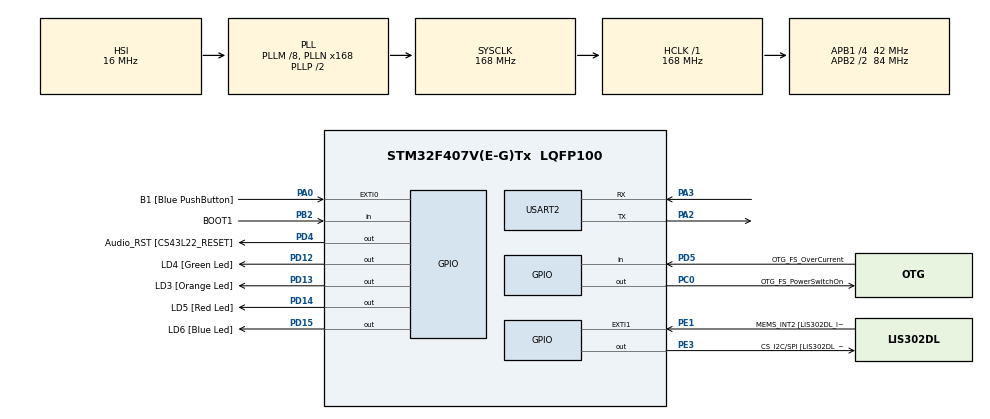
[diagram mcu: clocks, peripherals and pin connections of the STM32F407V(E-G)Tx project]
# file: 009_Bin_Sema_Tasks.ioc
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Mcu.Family=STM32F4
Mcu.Name=STM32F407V(E-G)Tx
Mcu.Package=LQFP100
NVIC.PriorityGroup=NVIC_PRIORITYGROUP_4
NVIC.TIM6_DAC_IRQn=true\:15\:0\:false\:false\:true\:false\:true\:true
NVIC.TimeBase=TIM6_DAC_IRQn
NVIC.TimeBaseIP=TIM6
NVIC.USART2_IRQn=true\:6\:0\:true\:false\:true\:true\:true\:true
PA0-WKUP.GPIO_Label=B1 [Blue PushButton]
PA0-WKUP.Signal=GPXTI0
PA10.GPIO_Label=OTG_FS_ID
PA10.GPIO_Mode=GPIO_MODE_AF_PP
PA10.GPIO_PuPd=GPIO_NOPULL
PA10.GPIO_Speed=GPIO_SPEED_FREQ_LOW
PA10.Signal=USB_OTG_FS_ID
PA11.GPIO_Label=OTG_FS_DM
PA11.GPIO_Mode=GPIO_MODE_AF_PP
PA11.GPIO_PuPd=GPIO_NOPULL
PA11.GPIO_Speed=GPIO_SPEED_FREQ_LOW
PA11.Signal=USB_OTG_FS_DM
PA12.GPIO_Label=OTG_FS_DP
PA12.GPIO_Mode=GPIO_MODE_AF_PP
PA12.GPIO_PuPd=GPIO_NOPULL
PA12.GPIO_Speed=GPIO_SPEED_FREQ_LOW
PA12.Signal=USB_OTG_FS_DP
PA13.GPIO_Label=SWDIO
PA13.Signal=SYS_JTMS-SWDIO
PA14.GPIO_Label=SWCLK
PA14.Signal=SYS_JTCK-SWCLK
PA2.Mode=Asynchronous
PA2.Signal=USART2_TX
PA3.Mode=Asynchronous
PA3.Signal=USART2_RX
PA4.GPIO_Label=I2S3_WS [CS43L22_LRCK]
PA4.GPIO_Mode=GPIO_MODE_AF_PP
PA4.GPIO_PuPd=GPIO_NOPULL
PA4.GPIO_Speed=GPIO_SPEED_FREQ_LOW
PA4.Signal=I2S3_WS
PA5.GPIO_Label=SPI1_SCK [LIS302DL_SCL/SPC]
PA5.GPIO_Mode=GPIO_MODE_AF_PP
PA5.GPIO_PuPd=GPIO_NOPULL
PA5.GPIO_Speed=GPIO_SPEED_FREQ_LOW
PA5.Signal=SPI1_SCK
PA6.GPIO_Label=SPI1_MISO [LIS302DL_SDO]
PA6.GPIO_Mode=GPIO_MODE_AF_PP
PA6.GPIO_PuPd=GPIO_NOPULL
PA6.GPIO_Speed=GPIO_SPEED_FREQ_LOW
PA6.Signal=SPI1_MISO
PA7.GPIO_Label=SPI1_MOSI [LIS302DL_SDA/SDI/SDO]
PA7.GPIO_Mode=GPIO_MODE_AF_PP
PA7.GPIO_PuPd=GPIO_NOPULL
PA7.GPIO_Speed=GPIO_SPEED_FREQ_LOW
PA7.Signal=SPI1_MOSI
PA9.GPIO_Label=VBUS_FS
PA9.GPIO_Mode=GPIO_MODE_INPUT
PA9.GPIO_PuPd=GPIO_NOPULL
PA9.Signal=USB_OTG_FS_VBUS
PB10.GPIO_Label=CLK_IN [MP45DT02_CLK]
PB10.GPIO_Mode=GPIO_MODE_AF_PP
PB10.GPIO_PuPd=GPIO_NOPULL
PB10.GPIO_Speed=GPIO_SPEED_FREQ_LOW
PB10.Signal=I2S2_CK
PB2.GPIO_Label=BOOT1
PB2.GPIO_Mode=GPIO_MODE_INPUT
PB2.GPIO_PuPd=GPIO_NOPULL
PB2.Signal=GPIO_Input
PB3.GPIO_Label=SWO
PB3.Signal=SYS_JTDO-SWO
PB6.GPIO_Label=Audio_SCL [CS43L22_SCL]
PB6.GPIO_Mode=GPIO_MODE_AF_OD
PB6.GPIO_PuPd=GPIO_NOPULL
PB6.GPIO_Speed=GPIO_SPEED_FREQ_LOW
PB6.Signal=I2C1_SCL
PB9.GPIO_Label=Audio_SDA [CS43L22_SDA]
PB9.GPIO_Mode=GPIO_MODE_AF_OD
PB9.GPIO_PuPd=GPIO_NOPULL
PB9.GPIO_Speed=GPIO_SPEED_FREQ_LOW
PB9.Signal=I2C1_SDA
PC0.GPIO_Label=OTG_FS_PowerSwitchOn
PC0.GPIO_PuPd=GPIO_NOPULL
PC0.GPIO_Speed=GPIO_SPEED_FREQ_LOW
PC0.PinState=GPIO_PIN_SET
PC0.Signal=GPIO_Output
PC10.GPIO_Label=I2S3_SCK [CS43L22_SCLK]
PC10.GPIO_Mode=GPIO_MODE_AF_PP
PC10.GPIO_PuPd=GPIO_NOPULL
PC10.GPIO_Speed=GPIO_SPEED_FREQ_LOW
PC10.Signal=I2S3_CK
PC12.GPIO_Label=I2S3_SD [CS43L22_SDIN]
PC12.GPIO_Mode=GPIO_MODE_AF_PP
PC12.GPIO_PuPd=GPIO_NOPULL
PC12.GPIO_Speed=GPIO_SPEED_FREQ_LOW
PC12.Signal=I2S3_SD
PC14-OSC32_IN.GPIO_Label=PC14-OSC32_IN
PC14-OSC32_IN.Signal=RCC_OSC32_IN
PC15-OSC32_OUT.GPIO_Label=PC15-OSC32_OUT
PC15-OSC32_OUT.Signal=RCC_OSC32_OUT
PC3.GPIO_Label=PDM_OUT [MP45DT02_DOUT]
PC3.GPIO_Mode=GPIO_MODE_AF_PP
PC3.GPIO_PuPd=GPIO_NOPULL
PC3.GPIO_Speed=GPIO_SPEED_FREQ_LOW
PC3.Signal=I2S2_SD
PC7.GPIO_Label=I2S3_MCK [CS43L22_MCLK]
PC7.GPIO_Mode=GPIO_MODE_AF_PP
PC7.GPIO_PuPd=GPIO_NOPULL
PC7.GPIO_Speed=GPIO_SPEED_FREQ_LOW
PC7.Signal=I2S3_MCK
PD12.GPIO_Label=LD4 [Green Led]
PD12.GPIO_PuPd=GPIO_NOPULL
PD12.GPIO_Speed=GPIO_SPEED_FREQ_LOW
PD12.Signal=GPIO_Output
PD13.GPIO_Label=LD3 [Orange Led]
PD13.GPIO_PuPd=GPIO_NOPULL
PD13.GPIO_Speed=GPIO_SPEED_FREQ_LOW
PD13.Signal=GPIO_Output
PD14.GPIO_Label=LD5 [Red Led]
PD14.GPIO_PuPd=GPIO_NOPULL
PD14.GPIO_Speed=GPIO_SPEED_FREQ_LOW
PD14.Signal=GPIO_Output
PD15.GPIO_Label=LD6 [Blue Led]
PD15.GPIO_PuPd=GPIO_NOPULL
PD15.GPIO_Speed=GPIO_SPEED_FREQ_LOW
PD15.Signal=GPIO_Output
PD4.GPIO_Label=Audio_RST [CS43L22_RESET]
PD4.GPIO_PuPd=GPIO_NOPULL
PD4.GPIO_Speed=GPIO_SPEED_FREQ_LOW
PD4.Signal=GPIO_Output
PD5.GPIO_Label=OTG_FS_OverCurrent
PD5.GPIO_Mode=GPIO_MODE_INPUT
PD5.GPIO_PuPd=GPIO_NOPULL
PD5.Signal=GPIO_Input
PE1.GPIO_Label=MEMS_INT2 [LIS302DL_INT2]
PE1.GPIO_ModeDefaultEXTI=GPIO_MODE_EVT_RISING
PE1.GPIO_PuPd=GPIO_NOPULL
PE1.Signal=GPXTI1
PE3.GPIO_Label=CS_I2C/SPI [LIS302DL_CS_I2C/SPI]
PE3.GPIO_PuPd=GPIO_NOPULL
PE3.GPIO_Speed=GPIO_SPEED_FREQ_LOW
PE3.Signal=GPIO_Output
PH0-OSC_IN.GPIO_Label=PH0-OSC_IN
PH0-OSC_IN.Signal=RCC_OSC_IN
PH1-OSC_OUT.GPIO_Label=PH1-OSC_OUT
PH1-OSC_OUT.Signal=RCC_OSC_OUT
ProjectManager.HeapSize=0x200
ProjectManager.StackSize=0x400
ProjectManager.TargetToolchain=STM32CubeIDE
RCC.48MHZClocksFreq_Value=48000000
RCC.AHBFreq_Value=168000000
RCC.APB1CLKDivider=RCC_HCLK_DIV4
RCC.APB1Freq_Value=42000000
RCC.APB1TimFreq_Value=84000000
RCC.APB2CLKDivider=RCC_HCLK_DIV2
RCC.APB2Freq_Value=84000000
RCC.APB2TimFreq_Value=168000000
RCC.CortexFreq_Value=168000000
RCC.HCLKFreq_Value=168000000
RCC.HSE_VALUE=8000000
RCC.HSI_VALUE=16000000
RCC.LSE_VALUE=32768
RCC.PLLM=8
RCC.PLLN=168
RCC.PLLQ=7
RCC.SYSCLKFreq_VALUE=168000000
RCC.SYSCLKSource=RCC_SYSCLKSOURCE_PLLCLK
RCC.VCOOutputFreq_Value=336000000
USART2.VirtualMode=VM_ASYNC
VP_SYS_VS_tim6.Mode=TIM6
board=STM32F407G-DISC1

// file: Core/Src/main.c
/* USER CODE BEGIN Header */
/**
  ******************************************************************************
  * @file           : main.c
  * @brief          : Main program body
  ******************************************************************************
  * @attention
  *
  * Copyright (c) 2024 STMicroelectronics.
  * All rights reserved.
  *
  * This software is licensed under terms that can be found in the LICENSE file
  * in the root directory of this software component.
  * If no LICENSE file comes with this software, it is provided AS-IS.
  *
  ******************************************************************************
  */
/* USER CODE END Header */
#include "main.h"

UART_HandleTypeDef huart2;

void SystemClock_Config(void);
static void MX_GPIO_Init(void);
static void MX_USART2_UART_Init(void);

/* USER CODE BEGIN 0 */
//global space for some variable
char usr_msg[250]={0};

TaskHandle_t xTaskHandleM=NULL;
TaskHandle_t xTaskHandleE=NULL;

/* The tasks to be created. */
static void vManagerTask( void *pvParameters );
static void vEmployeeTask( void *pvParameters );

/*-----------------------------------------------------------*/

/* Declare a variable of type xSemaphoreHandle.  This is used to reference the
semaphore that is used to synchronize both manager and employee task */
xSemaphoreHandle xWork;

/* this is the queue which manager uses to put the work ticket id */
xQueueHandle xWorkQueue;
/* USER CODE END 0 */

int main(void)
{

  /* MCU Configuration--------------------------------------------------------*/

  /* Reset of all peripherals, Initializes the Flash interface and the Systick. */
  HAL_Init();

  /* Configure the system clock */
  SystemClock_Config();

  /* Initialize all configured peripherals */
  MX_GPIO_Init();
  MX_USART2_UART_Init();
  /* USER CODE BEGIN 2 */
	sprintf(usr_msg,"Demo of Binary semaphore usage between 2 Tasks \r\n");
	HAL_UART_Transmit_IT(&huart2, (uint8_t*)usr_msg, strlen(usr_msg));
	HAL_Delay(500);

	/* Before a semaphore is used it must be explicitly created.
	* In this example a binary semaphore is created . */
	vSemaphoreCreateBinary(xWork);

	/* The queue is created to hold a maximum of 1 Element. */
	xWorkQueue = xQueueCreate(1, sizeof(unsigned int));

	/* Check the semaphore and queue was created successfully. */
	if((xWork != NULL) && (xWorkQueue != NULL))
	{
		/* Create the 'Manager' task.  This is the task that will be synchronized with the Employee task.  The Manager task is created with a high priority  */
		xTaskCreate(vManagerTask, "Manager", 500, NULL, 3, NULL);

		/* Create a employee task with less priority than manager */
		xTaskCreate(vEmployeeTask, "Employee", 500, NULL, 1, NULL);

		/* Start the scheduler so the created tasks start executing. */
		vTaskStartScheduler();
	}else
	{
		sprintf(usr_msg,"Queue/Sema create failed.. \r\n");
		HAL_UART_Transmit_IT(&huart2, (uint8_t*)usr_msg, strlen(usr_msg));
	}

	/* If all is well we will never reach here as the scheduler will now be
	running the tasks.  If we do reach here then it is likely that there was
	insufficient heap memory available for a resource to be created. */
  /* USER CODE END 2 */

  /* Infinite loop */
  while (1)
  {

  }
}

void SystemClock_Config(void)
{
  RCC_OscInitTypeDef RCC_OscInitStruct = {0};
  RCC_ClkInitTypeDef RCC_ClkInitStruct = {0};

  /** Configure the main internal regulator output voltage
  */
  __HAL_RCC_PWR_CLK_ENABLE();
  __HAL_PWR_VOLTAGESCALING_CONFIG(PWR_REGULATOR_VOLTAGE_SCALE1);

  /** Initializes the RCC Oscillators according to the specified parameters
  * in the RCC_OscInitTypeDef structure.
  */
  RCC_OscInitStruct.OscillatorType = RCC_OSCILLATORTYPE_HSI;
  RCC_OscInitStruct.HSIState = RCC_HSI_ON;
  RCC_OscInitStruct.HSICalibrationValue = RCC_HSICALIBRATION_DEFAULT;
  RCC_OscInitStruct.PLL.PLLState = RCC_PLL_ON;
  RCC_OscInitStruct.PLL.PLLSource = RCC_PLLSOURCE_HSI;
  RCC_OscInitStruct.PLL.PLLM = 8;
  RCC_OscInitStruct.PLL.PLLN = 168;
  RCC_OscInitStruct.PLL.PLLP = RCC_PLLP_DIV2;
  RCC_OscInitStruct.PLL.PLLQ = 7;
  if (HAL_RCC_OscConfig(&RCC_OscInitStruct) != HAL_OK)
  {
    Error_Handler();
  }

  /** Initializes the CPU, AHB and APB buses clocks
  */
  RCC_ClkInitStruct.ClockType = RCC_CLOCKTYPE_HCLK|RCC_CLOCKTYPE_SYSCLK
                              |RCC_CLOCKTYPE_PCLK1|RCC_CLOCKTYPE_PCLK2;
  RCC_ClkInitStruct.SYSCLKSource = RCC_SYSCLKSOURCE_PLLCLK;
  RCC_ClkInitStruct.AHBCLKDivider = RCC_SYSCLK_DIV1;
  RCC_ClkInitStruct.APB1CLKDivider = RCC_HCLK_DIV4;
  RCC_ClkInitStruct.APB2CLKDivider = RCC_HCLK_DIV2;

  if (HAL_RCC_ClockConfig(&RCC_ClkInitStruct, FLASH_LATENCY_5) != HAL_OK)
  {
    Error_Handler();
  }
}

static void MX_USART2_UART_Init(void)
{

  huart2.Instance = USART2;
  huart2.Init.BaudRate = 115200;
  huart2.Init.WordLength = UART_WORDLENGTH_8B;
  huart2.Init.StopBits = UART_STOPBITS_1;
  huart2.Init.Parity = UART_PARITY_NONE;
  huart2.Init.Mode = UART_MODE_TX_RX;
  huart2.Init.HwFlowCtl = UART_HWCONTROL_NONE;
  huart2.Init.OverSampling = UART_OVERSAMPLING_16;
  if (HAL_UART_Init(&huart2) != HAL_OK)
  {
    Error_Handler();
  }

}

static void MX_GPIO_Init(void)
{
  GPIO_InitTypeDef GPIO_InitStruct = {0};

  /* GPIO Ports Clock Enable */
  __HAL_RCC_GPIOE_CLK_ENABLE();
  __HAL_RCC_GPIOC_CLK_ENABLE();
  __HAL_RCC_GPIOH_CLK_ENABLE();
  __HAL_RCC_GPIOA_CLK_ENABLE();
  __HAL_RCC_GPIOB_CLK_ENABLE();
  __HAL_RCC_GPIOD_CLK_ENABLE();

  /*Configure GPIO pin Output Level */
  HAL_GPIO_WritePin(CS_I2C_SPI_GPIO_Port, CS_I2C_SPI_Pin, GPIO_PIN_RESET);

  /*Configure GPIO pin Output Level */
  HAL_GPIO_WritePin(OTG_FS_PowerSwitchOn_GPIO_Port, OTG_FS_PowerSwitchOn_Pin, GPIO_PIN_SET);

  /*Configure GPIO pin Output Level */
  HAL_GPIO_WritePin(GPIOD, LD4_Pin|LD3_Pin|LD5_Pin|LD6_Pin
                          |Audio_RST_Pin, GPIO_PIN_RESET);

  /*Configure GPIO pin : CS_I2C_SPI_Pin */
  GPIO_InitStruct.Pin = CS_I2C_SPI_Pin;
  GPIO_InitStruct.Mode = GPIO_MODE_OUTPUT_PP;
  GPIO_InitStruct.Pull = GPIO_NOPULL;
  GPIO_InitStruct.Speed = GPIO_SPEED_FREQ_LOW;
  HAL_GPIO_Init(CS_I2C_SPI_GPIO_Port, &GPIO_InitStruct);

  /*Configure GPIO pin : OTG_FS_PowerSwitchOn_Pin */
  GPIO_InitStruct.Pin = OTG_FS_PowerSwitchOn_Pin;
  GPIO_InitStruct.Mode = GPIO_MODE_OUTPUT_PP;
  GPIO_InitStruct.Pull = GPIO_NOPULL;
  GPIO_InitStruct.Speed = GPIO_SPEED_FREQ_LOW;
  HAL_GPIO_Init(OTG_FS_PowerSwitchOn_GPIO_Port, &GPIO_InitStruct);

  /*Configure GPIO pin : PDM_OUT_Pin */
  GPIO_InitStruct.Pin = PDM_OUT_Pin;
  GPIO_InitStruct.Mode = GPIO_MODE_AF_PP;
  GPIO_InitStruct.Pull = GPIO_NOPULL;
  GPIO_InitStruct.Speed = GPIO_SPEED_FREQ_LOW;
  GPIO_InitStruct.Alternate = GPIO_AF5_SPI2;
  HAL_GPIO_Init(PDM_OUT_GPIO_Port, &GPIO_InitStruct);

  /*Configure GPIO pin : B1_Pin */
  GPIO_InitStruct.Pin = B1_Pin;
  GPIO_InitStruct.Mode = GPIO_MODE_IT_RISING;
  GPIO_InitStruct.Pull = GPIO_NOPULL;
  HAL_GPIO_Init(B1_GPIO_Port, &GPIO_InitStruct);

  /*Configure GPIO pin : I2S3_WS_Pin */
  GPIO_InitStruct.Pin = I2S3_WS_Pin;
  GPIO_InitStruct.Mode = GPIO_MODE_AF_PP;
  GPIO_InitStruct.Pull = GPIO_NOPULL;
  GPIO_InitStruct.Speed = GPIO_SPEED_FREQ_LOW;
  GPIO_InitStruct.Alternate = GPIO_AF6_SPI3;
  HAL_GPIO_Init(I2S3_WS_GPIO_Port, &GPIO_InitStruct);

  /*Configure GPIO pins : SPI1_SCK_Pin SPI1_MISO_Pin SPI1_MOSI_Pin */
  GPIO_InitStruct.Pin = SPI1_SCK_Pin|SPI1_MISO_Pin|SPI1_MOSI_Pin;
  GPIO_InitStruct.Mode = GPIO_MODE_AF_PP;
  GPIO_InitStruct.Pull = GPIO_NOPULL;
  GPIO_InitStruct.Speed = GPIO_SPEED_FREQ_LOW;
  GPIO_InitStruct.Alternate = GPIO_AF5_SPI1;
  HAL_GPIO_Init(GPIOA, &GPIO_InitStruct);

  /*Configure GPIO pin : BOOT1_Pin */
  GPIO_InitStruct.Pin = BOOT1_Pin;
  GPIO_InitStruct.Mode = GPIO_MODE_INPUT;
  GPIO_InitStruct.Pull = GPIO_NOPULL;
  HAL_GPIO_Init(BOOT1_GPIO_Port, &GPIO_InitStruct);

  /*Configure GPIO pin : CLK_IN_Pin */
  GPIO_InitStruct.Pin = CLK_IN_Pin;
  GPIO_InitStruct.Mode = GPIO_MODE_AF_PP;
  GPIO_InitStruct.Pull = GPIO_NOPULL;
  GPIO_InitStruct.Speed = GPIO_SPEED_FREQ_LOW;
  GPIO_InitStruct.Alternate = GPIO_AF5_SPI2;
  HAL_GPIO_Init(CLK_IN_GPIO_Port, &GPIO_InitStruct);

  /*Configure GPIO pins : LD4_Pin LD3_Pin LD5_Pin LD6_Pin
                           Audio_RST_Pin */
  GPIO_InitStruct.Pin = LD4_Pin|LD3_Pin|LD5_Pin|LD6_Pin
                          |Audio_RST_Pin;
  GPIO_InitStruct.Mode = GPIO_MODE_OUTPUT_PP;
  GPIO_InitStruct.Pull = GPIO_NOPULL;
  GPIO_InitStruct.Speed = GPIO_SPEED_FREQ_LOW;
  HAL_GPIO_Init(GPIOD, &GPIO_InitStruct);

  /*Configure GPIO pins : I2S3_MCK_Pin I2S3_SCK_Pin I2S3_SD_Pin */
  GPIO_InitStruct.Pin = I2S3_MCK_Pin|I2S3_SCK_Pin|I2S3_SD_Pin;
  GPIO_InitStruct.Mode = GPIO_MODE_AF_PP;
  GPIO_InitStruct.Pull = GPIO_NOPULL;
  GPIO_InitStruct.Speed = GPIO_SPEED_FREQ_LOW;
  GPIO_InitStruct.Alternate = GPIO_AF6_SPI3;
  HAL_GPIO_Init(GPIOC, &GPIO_InitStruct);

  /*Configure GPIO pin : VBUS_FS_Pin */
  GPIO_InitStruct.Pin = VBUS_FS_Pin;
  GPIO_InitStruct.Mode = GPIO_MODE_INPUT;
  GPIO_InitStruct.Pull = GPIO_NOPULL;
  HAL_GPIO_Init(VBUS_FS_GPIO_Port, &GPIO_InitStruct);

  /*Configure GPIO pins : OTG_FS_ID_Pin OTG_FS_DM_Pin OTG_FS_DP_Pin */
  GPIO_InitStruct.Pin = OTG_FS_ID_Pin|OTG_FS_DM_Pin|OTG_FS_DP_Pin;
  GPIO_InitStruct.Mode = GPIO_MODE_AF_PP;
  GPIO_InitStruct.Pull = GPIO_NOPULL;
  GPIO_InitStruct.Speed = GPIO_SPEED_FREQ_LOW;
  GPIO_InitStruct.Alternate = GPIO_AF10_OTG_FS;
  HAL_GPIO_Init(GPIOA, &GPIO_InitStruct);

  /*Configure GPIO pin : OTG_FS_OverCurrent_Pin */
  GPIO_InitStruct.Pin = OTG_FS_OverCurrent_Pin;
  GPIO_InitStruct.Mode = GPIO_MODE_INPUT;
  GPIO_InitStruct.Pull = GPIO_NOPULL;
  HAL_GPIO_Init(OTG_FS_OverCurrent_GPIO_Port, &GPIO_InitStruct);

  /*Configure GPIO pins : Audio_SCL_Pin Audio_SDA_Pin */
  GPIO_InitStruct.Pin = Audio_SCL_Pin|Audio_SDA_Pin;
  GPIO_InitStruct.Mode = GPIO_MODE_AF_OD;
  GPIO_InitStruct.Pull = GPIO_NOPULL;
  GPIO_InitStruct.Speed = GPIO_SPEED_FREQ_LOW;
  GPIO_InitStruct.Alternate = GPIO_AF4_I2C1;
  HAL_GPIO_Init(GPIOB, &GPIO_InitStruct);

  /*Configure GPIO pin : MEMS_INT2_Pin */
  GPIO_InitStruct.Pin = MEMS_INT2_Pin;
  GPIO_InitStruct.Mode = GPIO_MODE_EVT_RISING;
  GPIO_InitStruct.Pull = GPIO_NOPULL;
  HAL_GPIO_Init(MEMS_INT2_GPIO_Port, &GPIO_InitStruct);

}

/* USER CODE BEGIN 4 */
//function prototypes
void vManagerTask( void *pvParameters )
{
	unsigned int xWorkTicketId;
	portBASE_TYPE xStatus;

	/* The semaphore is created in the 'empty' state, meaning the semaphore must
	first be given using the xSemaphoreGive() API function before it
	can subsequently be taken (obtained) */

	while(1)
	{
		/* get a work ticket id(some random number) */
		xWorkTicketId = (rand() & 0x1FF);

		/* Sends work ticket id to the work queue */
		xStatus = xQueueSend(xWorkQueue, &xWorkTicketId, portMAX_DELAY); //Post an item on back of the queue

		if(xStatus != pdPASS)
		{
			sprintf(usr_msg, "Could not send to the queue.\r\n");
			HAL_UART_Transmit_IT(&huart2, (uint8_t*)usr_msg, strlen(usr_msg));
		}else
		{
			/* Manager notifying the employee by "Giving" semaphore */
			xSemaphoreGive(xWork);
			/* after assigning the work , just yield the processor because nothing to do */
			//taskYIELD();
		}
	}
}
/*-----------------------------------------------------------*/

void EmployeeDoWork(unsigned char TicketId)
{
	/* implement the work according to TickedID */
	sprintf(usr_msg,"Employee task : Working on Ticked id : %d\r\n",TicketId);
	HAL_UART_Transmit_IT(&huart2, (uint8_t*)usr_msg, strlen(usr_msg));
	vTaskDelay(TicketId);
}

static void vEmployeeTask(void *pvParameters)
{
	unsigned char xWorkTicketId;
	portBASE_TYPE xStatus;
	/* As per most tasks, this task is implemented within an infinite loop. */
	while(1)
	{
		/* First Employee tries to take the semaphore, if it is available that means there is a task assigned by manager, otherwise employee task will be blocked */
		xSemaphoreTake(xWork, portMAX_DELAY);

		/* get the ticket id from the work queue */
		xStatus = xQueueReceive(xWorkQueue, &xWorkTicketId, portMAX_DELAY);

		if(xStatus == pdPASS )
		{
			/* employee may decode the xWorkTicketId in this function to do the work*/
			EmployeeDoWork(xWorkTicketId);
		}
		else
		{
			/* We did not receive anything from the queue.  This must be an error as this task should only run when the manager assigns at least one work. */
			sprintf(usr_msg,"Employee task : Queue is empty , nothing to do.\r\n");
			HAL_UART_Transmit_IT(&huart2, (uint8_t*)usr_msg, strlen(usr_msg));
		}
	}
}

/* USER CODE END 4 */

void HAL_TIM_PeriodElapsedCallback(TIM_HandleTypeDef *htim)
{
  if (htim->Instance == TIM6) {
    HAL_IncTick();
  }
}

void Error_Handler(void)
{
  __disable_irq();
  while (1)
  {
  }
}
